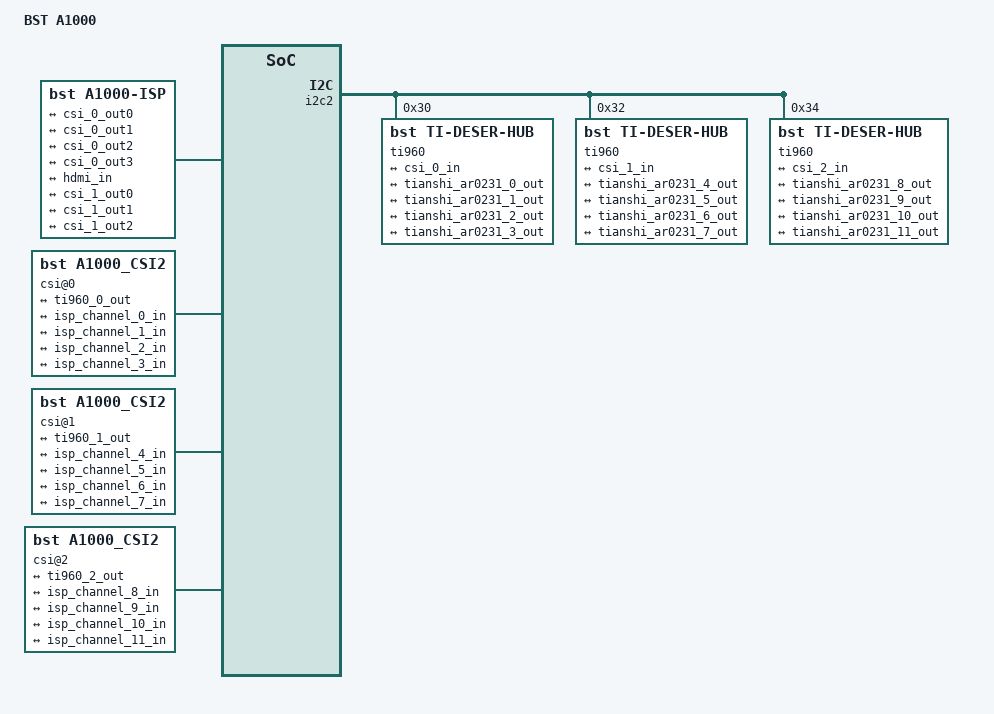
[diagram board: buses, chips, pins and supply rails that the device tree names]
/* 
   this file is reserved only for bsta1000-ec
   do not use it for other boards
*/
#include "bsta1000-camera-ar0231-with-isp.dtsi"

/ {
    compatible = "bst,a1000";
    model = "BST A1000";

    isp {
        #address-cells = <0x2>;
        #size-cells = <0x2>;
        compatible = "bst,a1000-isp";
	// &bst_isp_fw_code_reserved memory must be at first
        memory-region = <&bst_isp_fw_code_reserved &coreip_reserved>;
        assigned-mem-size = <0x1000>;
        mbox-names = "bstn-mbox"; // need
        mboxes = <0xea 0x6>;
        isp-fw-fbuf-addr = <0xa2000000>;	/* WARNING: must be same to isp_fw_data_reserved */
        isp-fw-fbuf-size = <0x10000000>;	/* WARNING: must be same to isp_fw_data_reserved */

        core@0 {
            id = <0>;
            ports {
                #address-cells = <1>;
                #size-cells = <0>;
                port@0 {
                    reg = <0>;
                    isp_channel_0_in: endpoint@0 {
                        remote-endpoint = <&csi_0_out0>;
                    };
                };
                port@1 {
                    reg = <1>;
                    isp_channel_1_in: endpoint@1 {
                        remote-endpoint = <&csi_0_out1>;
                    };
                };
                port@2 {
                    reg = <2>;
                    isp_channel_2_in: endpoint@2 {
                        remote-endpoint = <&csi_0_out2>;
                    };
                };
                port@3 {
                    reg = <3>;
                    isp_channel_3_in: endpoint@3 {
                        remote-endpoint = <&csi_0_out3>;
                    };
                };
                port@4 {
                    reg = <4>;
                    hdmi_isp: endpoint@4 {
                        remote-endpoint = <&hdmi_in>;
                    };
                };
            };
        };

        core@1 {
            id = <1>;
            ports {
                #address-cells = <1>;
                #size-cells = <0>;
                port@4 {
                    reg = <0>;
                    isp_channel_4_in: endpoint@4 {
                        remote-endpoint = <&csi_1_out0>;
                    };
                };
                port@5 {
                    reg = <1>;
                    isp_channel_5_in: endpoint@5 {
                        remote-endpoint = <&csi_1_out1>;
                    };
                };
                port@6 {
                    reg = <2>;
                    isp_channel_6_in: endpoint@6 {
                        remote-endpoint = <&csi_1_out2>;
                    };
                };
                port@7 {
                    reg = <3>;
                    isp_channel_7_in: endpoint@7 {
                        remote-endpoint = <&csi_1_out3>;
                    };
                };
            };
        };

        core@2 {
            id = <2>;
            ports {
                #address-cells = <1>;
                #size-cells = <0>;
                port@8 {
                    reg = <0>;
                    isp_channel_8_in: endpoint@8 {
                        remote-endpoint = <&csi_2_out0>;
                    };
                };
                port@9 {
                    reg = <1>;
                    isp_channel_9_in: endpoint@9 {
                        remote-endpoint = <&csi_2_out1>;
                    };
                };
                port@a {
                    reg = <2>;
                    isp_channel_10_in: endpoint@10 {
                        remote-endpoint = <&csi_2_out2>;
                    };
                };
                port@b {
                    reg = <3>;
                    isp_channel_11_in: endpoint@11 {
                        remote-endpoint = <&csi_2_out3>;
                    };
                };
            };
        };
    };
    csi@0 {
	compatible = "bst,a1000_csi2";
        #address-cells = <1>;
        #size-cells = <0>;
        clock-lanes = <0>;
        data-lanes = <1 2 3 4>;
        lane-speed = <1600>;
        id = <0>;
        resets = <&rstc RST_MIPI0_SW>;
        reset-names = "csi0_reset";
        csi-link {
            ports {
                port@0 {
                    csi_0_in: endpoint@0{
                        remote-endpoint = <&ti960_0_out>;
                    };
                };
            };
        };

        ports {
            #address-cells = <1>;
            #size-cells = <0>;
            port@0 {
                reg = <0>;
                csi_0_out0: endpoint@0 {
                    remote-endpoint = <&isp_channel_0_in>;
                };
            };
            port@1 {
                reg = <1>;
                csi_0_out1: endpoint@1 {
                    remote-endpoint = <&isp_channel_1_in>;
                };
            };
            port@2 {
                reg = <2>;
                csi_0_out2: endpoint@2 {
                    remote-endpoint = <&isp_channel_2_in>;
                };
            };
            port@3 {
                reg = <3>;
                csi_0_out3: endpoint@3 {
                    remote-endpoint = <&isp_channel_3_in>;
                };
            };
        };
    };

    csi@1 {
	compatible = "bst,a1000_csi2";
        #address-cells = <1>;
        #size-cells = <0>;
        clock-lanes = <0>;
        data-lanes = <1 2 3 4>;
        lane-speed = <1600>;
        id = <1>;
        resets = <&rstc RST_MIPI1_SW>;
        reset-names = "csi1_reset";
        csi-link {
            ports {
                port@0 {
                    csi_1_in: endpoint@0{
                        remote-endpoint = <&ti960_1_out>;
                    };
                };
            };
        };

        //channel {
            ports {
                #address-cells = <1>;
                #size-cells = <0>;
                port@0 {
                    reg = <0>;
                    csi_1_out0: endpoint@0 {
                        remote-endpoint = <&isp_channel_4_in>;
                    };
                };
                port@1 {
                    reg = <1>;
                    csi_1_out1: endpoint@1 {
                        remote-endpoint = <&isp_channel_5_in>;
                    };
                };
                port@2 {
                    reg = <2>;
                    csi_1_out2: endpoint@2 {
                        remote-endpoint = <&isp_channel_6_in>;
                    };
                };
                port@3 {
                    reg = <3>;
                    csi_1_out3: endpoint@3 {
                        remote-endpoint = <&isp_channel_7_in>;
                    };
                };
            };
        //};
    };

    csi@2 {
	compatible = "bst,a1000_csi2";
        #address-cells = <1>;
        #size-cells = <0>;
        clock-lanes = <0>;
        data-lanes = <1 2 3 4>;
        lane-speed = <1600>;
        resets = <&rstc RST_MIPI2_SW>;
        reset-names = "csi2_reset";
        id = <2>;
        csi-link {
            ports {
                port@0 {
                    csi_2_in: endpoint@0{
                        remote-endpoint = <&ti960_2_out>;
                    };
                };
            };
        };

        //channel {
            ports {
                #address-cells = <1>;
                #size-cells = <0>;
                port@0 {
                    reg = <0>;
                    csi_2_out0: endpoint@0 {
                        remote-endpoint = <&isp_channel_8_in>;
                    };
                };
                port@1 {
                    reg = <1>;
                    csi_2_out1: endpoint@1 {
                        remote-endpoint = <&isp_channel_9_in>;
                    };
                };
                port@2 {
                    reg = <2>;
                    csi_2_out2: endpoint@2 {
                        remote-endpoint = <&isp_channel_10_in>;
                    };
                };
                port@3 {
                    reg = <3>;
                    csi_2_out3: endpoint@3 {
                        remote-endpoint = <&isp_channel_11_in>;
                    };
                };
            };
        //};

    };
};

&i2c2 {
    status = "okay";
    #address-cells = <1>;
    #size-cells = <0>;
    ti960@0 {
        #address-cells = <1>;
        #size-cells = <0>;
        compatible = "bst,ti-deser-hub";
        type = "ti960";
        reg = <0x30>;
        i2c-port = <0>;
        csi2-port = <0>;
        lane-speed = <1600>;
        csi-link {
            ports {
                port@0 {
                    clock-lanes = <0>;
                    data-lanes = <1 2 3 4>;
                    ti960_0_out: endpoint{
                        remote-endpoint = <&csi_0_in>;
                    };
                };
            };
        };
        ports {
            #address-cells = <1>;
            #size-cells = <0>;
            port@0 {
                reg = <0>;
                ti960_0_in_0: endpoint@0{
                    remote-endpoint = <&tianshi_ar0231_0_out>;
                };
            };
            port@1 {
                reg = <1>;
                ti960_0_in_1: endpoint@1{
                    remote-endpoint = <&tianshi_ar0231_1_out>;
                };
            };
            port@2 {
                reg = <2>;
                ti960_0_in_2: endpoint@2{
                    remote-endpoint = <&tianshi_ar0231_2_out>;
                };
            };
            port@3 {
                reg = <3>;
                ti960_0_in_3: endpoint@3{
                    remote-endpoint = <&tianshi_ar0231_3_out>;
                };
            };
        };
    };

    ti960@1 {
        #address-cells = <1>;
        #size-cells = <0>;
        compatible = "bst,ti-deser-hub";
        type = "ti960";
        reg = <0x32>;
        i2c-port = <0>;
        csi2-port = <0>;
        lane-speed = <1600>;
        csi-link {
            ports {
                port@0 {
                    clock-lanes = <0>;
                    data-lanes = <1 2 3 4>;
                    ti960_1_out: endpoint{
                        remote-endpoint = <&csi_1_in>;
                    };
                };
            };
        };

        ports {
            #address-cells = <1>;
            #size-cells = <0>;
            port@0 {
                reg = <0>;
                ti960_1_in_0: endpoint@0{
                    remote-endpoint = <&tianshi_ar0231_4_out>;
                };
            };
            port@1 {
                reg = <1>;
                ti960_1_in_1: endpoint@1{
                    remote-endpoint = <&tianshi_ar0231_5_out>;
                };
            };
            port@2 {
                reg = <2>;
                ti960_1_in_2: endpoint@2{
                    remote-endpoint = <&tianshi_ar0231_6_out>;
                };
            };
            port@3 {
                reg = <3>;
                ti960_1_in_3: endpoint@3{
                    remote-endpoint = <&tianshi_ar0231_7_out>;
                };
            };
        };
    };

    ti960@2 {
        #address-cells = <1>;
        #size-cells = <0>;
        compatible = "bst,ti-deser-hub";
        type = "ti960";
        reg = <0x34>;
        i2c-port = <0>;
        csi2-port = <0>;
        lane-speed = <1600>;
        csi-link {
            ports {
                port@0 {
                    clock-lanes = <0>;
                    data-lanes = <1 2 3 4>;
                    ti960_2_out: endpoint{
                        remote-endpoint = <&csi_2_in>;
                    };
                };
            };
        };

        ports {
            #address-cells = <1>;
            #size-cells = <0>;
            port@0 {
                reg = <0>;
                ti960_2_in_0: endpoint@0{
                    remote-endpoint = <&tianshi_ar0231_8_out>;
                };
            };
            port@1 {
                reg = <1>;
                ti960_2_in_1: endpoint@1{
                    remote-endpoint = <&tianshi_ar0231_9_out>;
                };
            };
            port@2 {
                reg = <2>;
                ti960_2_in_2: endpoint@2{
                    remote-endpoint = <&tianshi_ar0231_10_out>;
                };
            };
            port@3 {
                reg = <3>;
                ti960_2_in_3: endpoint@3{
                    remote-endpoint = <&tianshi_ar0231_11_out>;
                };
            };
        };
    };
};
